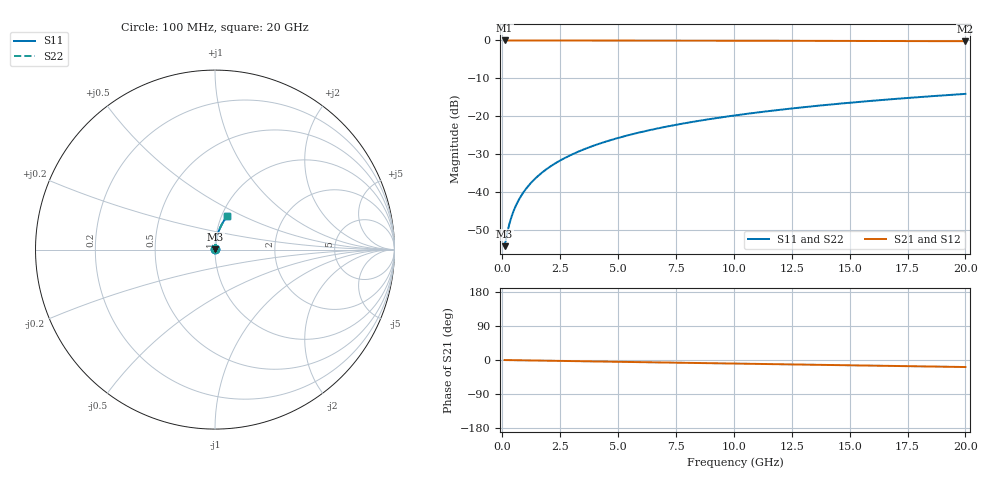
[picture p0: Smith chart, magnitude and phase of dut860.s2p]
! Touchstone file exported from HFSS 2026.1.0
!  File:  C:/ffzhzh/LocalFiles/Ansys_Project_Files/temp_train_TMRDL_860_1783157148_55132.aedt
!  Generated:  05:27:01 PM Jul  4, 2026
!  Design:  TMRDL
!  Project:  temp_train_TMRDL_860_1783157148_55132
! Variables:
!  h_bsmrdl = 2um
!  h_ox = 20um
!  h_rdl = 5um
!  h_sub = 80um
!  h_tmrdl = 2.37um
!  h_tsv = 80um
!  h_via = 3um
!  l_bsmrdl = 300um
!  l_sub = 612.41um
!  l_tmrdl = 212.41um
!  m_sub = 200um
!  pitch = 57.41um
!  r_tsv = 6um
!  s_tmrdl = 10um
!  w_bsmrdl = 18um
!  w_sub = 500um
!  w_tmrdl = 27.23um
!  x_tsv_center1 = 226.025um
!  x_tsv_center2 = 544.025um
!  x_tsv_center3 = 783.665um
!  x_tsv_center4 = 1101.665um
!  x_tsv_center5 = 1341.305um
!  x_tsv_center6 = 1659.305um
# GHz S MA R 50.000000
! Terminal data exported
! Port[1] = TM_RDL1_1_T1
! Port[2] = TM_RDL1_1_T2
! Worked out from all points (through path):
!   200 points, 100 MHz to 20 GHz, reference 50 ohm
!   highest |S21| = -0.01 dB at 100 MHz (marker M1); lowest = -0.2 dB at 20 GHz (marker M2)
!   group delay of S21, straight-line fit = 2.58 ps
!   lowest |S11| = -54.3 dB at 100 MHz (marker M3), VSWR 1.00, Z = 50.2 + j0.113 ohm
!   |S11| at or under -10 dB: start of sweep to end of sweep
!   |S22| runs from -54.3 to -14.1 dB; largest |S21 - S12| = 4.4e-15
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0.1  0.001922 35.9  0.9984 -0.1  0.9984 -0.1  0.001922 35.9
! Gamma 0 0 0 0
! Port Impedance 50 0 50 0
0.2  0.002757 54.3  0.9984 -0.2  0.9984 -0.2  0.002757 54.3
0.3  0.003723 63.2  0.9983 -0.3  0.9983 -0.3  0.003723 63.2
0.4  0.004721 68.1  0.9983 -0.4  0.9983 -0.4  0.004721 68.1
0.5  0.005724 71.3  0.9982 -0.5  0.9982 -0.5  0.005724 71.3
0.6  0.006726 73.5  0.9981 -0.6  0.9981 -0.6  0.006726 73.5
0.8  0.00873 76.5  0.998 -0.8  0.998 -0.8  0.00873 76.5
1.1  0.01175 79.2  0.9979 -1.1  0.9979 -1.1  0.01175 79.2
1.3  0.01377 80.3  0.9979 -1.2  0.9979 -1.2  0.01377 80.3
1.6  0.01681 81.4  0.9978 -1.5  0.9978 -1.5  0.01681 81.4
2.1  0.02191 82.5  0.9976 -2.0  0.9976 -2.0  0.02191 82.5
2.7  0.02805 83.0  0.9974 -2.6  0.9974 -2.6  0.02805 83.0
3.5  0.03623 83.1  0.9971 -3.3  0.9971 -3.3  0.03623 83.1
4.2  0.04339 83.0  0.9967 -4.0  0.9967 -4.0  0.04339 83.0
5  0.05155 82.6  0.9963 -4.7  0.9963 -4.7  0.05155 82.6
5.9  0.0607 82.0  0.9956 -5.6  0.9956 -5.6  0.0607 82.0
6.8  0.06981 81.4  0.9949 -6.4  0.9949 -6.4  0.0698 81.4
8.3  0.08489 80.2  0.9935 -7.8  0.9935 -7.8  0.08489 80.2
10.1  0.1028 78.7  0.9915 -9.5  0.9915 -9.5  0.1028 78.7
13.4  0.135 75.9  0.9871 -12.6  0.9871 -12.6  0.135 75.9
16.7  0.1664 73.0  0.9818 -15.6  0.9818 -15.6  0.1664 73.0
20  0.1967 70.1  0.9757 -18.5  0.9757 -18.5  0.1967 70.1
